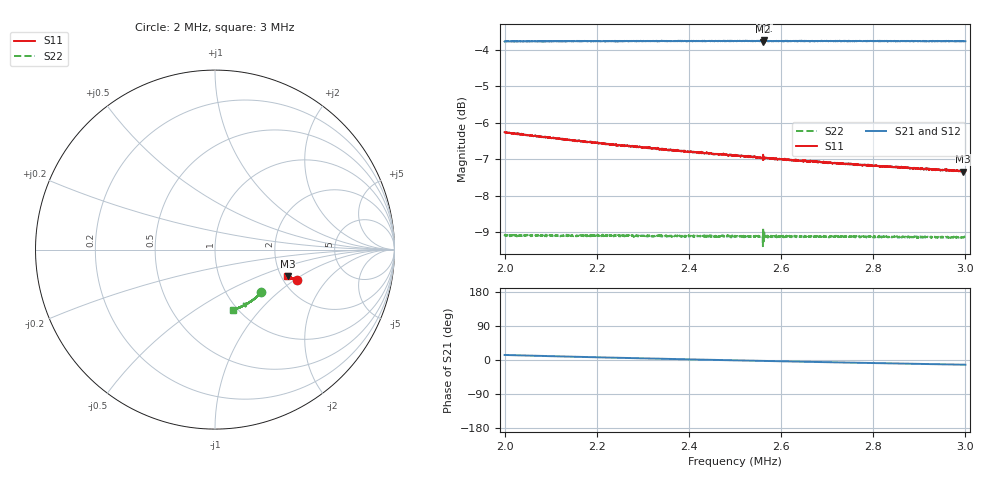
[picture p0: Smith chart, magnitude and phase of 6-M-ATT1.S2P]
!Keysight Technologies,E5063A,MY54504603,A.05.08
!Date: Wed Nov 25 12:31:58 2026
!Data & Calibration Information:
!Freq	S11:NONE(--)	S21:NONE(--)	S12:NONE(--)	S22:NONE(--)
# Hz S dB R 50
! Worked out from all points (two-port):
!   2001 points, 2 MHz to 3 MHz, reference 50 ohm
!   highest |S21| = -3.75 dB at 2.564 MHz (marker M1); lowest = -3.8 dB at 2.561 MHz (marker M2)
!   |S21| within 3 dB of the highest: start of sweep to end of sweep
!   lowest |S11| = -7.3 dB at 2.995 MHz (marker M3), VSWR 2.51, Z = 108 - j38.9 ohm
!   |S11| at or under -10 dB: nowhere
!   |S22| runs from -9.4 to -8.9 dB; largest |S21 - S12| = 0.0027
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2000000  -6.26 -20.5  -3.78 13.3  -3.78 13.3  -9.10 -42.9
2019000  -6.30 -20.5  -3.78 12.7  -3.78 12.7  -9.05 -43.4
2096500  -6.42 -20.5  -3.78 10.2  -3.78 10.3  -9.10 -45.9
2167000  -6.50 -20.5  -3.77 8.1  -3.78 8.1  -9.08 -48.3
2262500  -6.63 -20.5  -3.77 5.4  -3.78 5.4  -9.09 -51.4
2333500  -6.72 -20.6  -3.77 3.4  -3.78 3.4  -9.09 -53.6
2449000  -6.85 -20.5  -3.76 0.4  -3.77 0.4  -9.08 -57.3
2500000  -6.90 -20.4  -3.77 -0.9  -3.77 -0.9  -9.09 -58.9
2555000  -6.97 -20.4  -3.77 -2.3  -3.77 -2.3  -9.11 -60.4
2555500  -6.95 -20.4  -3.77 -2.3  -3.77 -2.3  -9.12 -60.4
2556500  -6.96 -20.4  -3.76 -2.3  -3.77 -2.4  -9.11 -60.4
2557500  -6.97 -20.5  -3.77 -2.3  -3.77 -2.4  -9.11 -60.5
2560500  -7.01 -20.9  -3.79 -2.4  -3.81 -2.4  -9.37 -62.0
2564000  -6.96 -20.5  -3.75 -2.5  -3.76 -2.5  -9.09 -60.2
2566000  -6.95 -20.4  -3.77 -2.5  -3.77 -2.6  -9.10 -60.7
2568500  -6.96 -20.4  -3.77 -2.6  -3.77 -2.6  -9.12 -60.7
2667000  -7.05 -20.3  -3.77 -5.0  -3.78 -5.0  -9.13 -63.9
2779000  -7.16 -20.2  -3.77 -7.6  -3.77 -7.6  -9.12 -67.2
2799500  -7.17 -20.3  -3.77 -8.0  -3.78 -8.1  -9.13 -67.8
2833500  -7.19 -20.2  -3.77 -8.8  -3.78 -8.8  -9.13 -68.7
2995000  -7.33 -20.0  -3.77 -12.3  -3.78 -12.4  -9.13 -73.5
3000000  -7.33 -20.1  -3.77 -12.4  -3.77 -12.5  -9.13 -73.5
